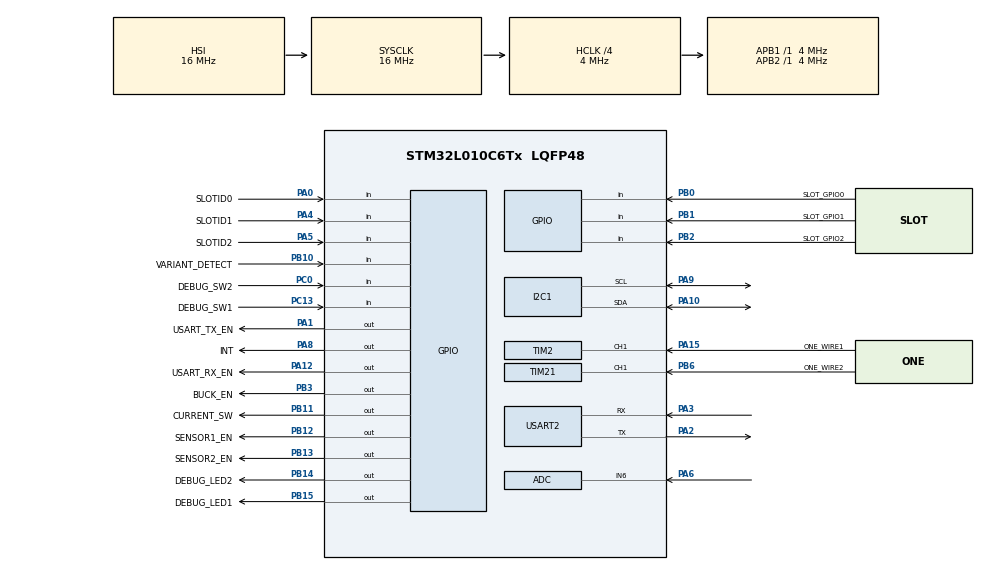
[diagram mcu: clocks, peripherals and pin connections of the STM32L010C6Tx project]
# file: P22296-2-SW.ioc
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ADC.ContinuousConvMode=ENABLE
ADC.Overrun=ADC_OVR_DATA_OVERWRITTEN
ADC.SamplingTime=ADC_SAMPLETIME_3CYCLES_5
Dma.Request0=USART2_RX
Dma.Request1=USART2_TX
Dma.USART2_RX.0.Direction=DMA_PERIPH_TO_MEMORY
Dma.USART2_RX.0.Instance=DMA1_Channel5
Dma.USART2_RX.0.MemDataAlignment=DMA_MDATAALIGN_BYTE
Dma.USART2_RX.0.MemInc=DMA_MINC_ENABLE
Dma.USART2_RX.0.Mode=DMA_NORMAL
Dma.USART2_RX.0.PeriphDataAlignment=DMA_PDATAALIGN_BYTE
Dma.USART2_RX.0.PeriphInc=DMA_PINC_DISABLE
Dma.USART2_RX.0.Priority=DMA_PRIORITY_MEDIUM
Dma.USART2_TX.1.Direction=DMA_MEMORY_TO_PERIPH
Dma.USART2_TX.1.Instance=DMA1_Channel4
Dma.USART2_TX.1.MemDataAlignment=DMA_MDATAALIGN_BYTE
Dma.USART2_TX.1.MemInc=DMA_MINC_ENABLE
Dma.USART2_TX.1.Mode=DMA_NORMAL
Dma.USART2_TX.1.PeriphDataAlignment=DMA_PDATAALIGN_BYTE
Dma.USART2_TX.1.PeriphInc=DMA_PINC_DISABLE
Dma.USART2_TX.1.Priority=DMA_PRIORITY_MEDIUM
I2C1.OwnAddress=0
I2C1.Timing=0x00303D5B
Mcu.Family=STM32L0
Mcu.Name=STM32L010C6Tx
Mcu.Package=LQFP48
NVIC.DMA1_Channel4_5_6_7_IRQn=true\:0\:0\:false\:false\:true\:false\:true\:true
NVIC.I2C1_IRQn=true\:1\:0\:true\:false\:true\:true\:true\:true
NVIC.TIM21_IRQn=true\:2\:0\:true\:false\:true\:true\:true\:true
NVIC.TIM2_IRQn=true\:2\:0\:true\:false\:true\:true\:true\:true
PA0.GPIO_Label=SLOTID0
PA0.Signal=GPIO_Input
PA1.GPIO_Label=USART_TX_EN
PA1.Signal=GPIO_Output
PA10.Mode=I2C
PA10.Signal=I2C1_SDA
PA12.GPIO_Label=USART_RX_EN
PA12.Signal=GPIO_Output
PA13.Mode=Serial_Wire
PA13.Signal=SYS_SWDIO
PA15.GPIO_Label=ONE_WIRE1
PA15.Signal=S_TIM2_CH1
PA2.Mode=Asynchronous
PA2.Signal=USART2_TX
PA3.Mode=Asynchronous
PA3.Signal=USART2_RX
PA4.GPIO_Label=SLOTID1
PA4.Signal=GPIO_Input
PA5.GPIO_Label=SLOTID2
PA5.Signal=GPIO_Input
PA6.Mode=IN6
PA6.Signal=ADC_IN6
PA7.Signal=ADC_IN7
PA8.GPIO_Label=INT
PA8.Signal=GPIO_Output
PA9.Mode=I2C
PA9.Signal=I2C1_SCL
PB0.GPIO_Label=SLOT_GPIO0
PB0.Signal=GPIO_Input
PB1.GPIO_Label=SLOT_GPIO1
PB1.Signal=GPIO_Input
PB10.GPIO_Label=VARIANT_DETECT
PB10.Signal=GPIO_Input
PB11.GPIO_Label=CURRENT_SW
PB11.GPIO_ModeDefaultOutputPP=GPIO_MODE_OUTPUT_PP
PB11.GPIO_PuPd=GPIO_NOPULL
PB11.PinState=GPIO_PIN_SET
PB11.Signal=GPIO_Output
PB12.GPIO_Label=SENSOR1_EN
PB12.GPIO_ModeDefaultOutputPP=GPIO_MODE_OUTPUT_OD
PB12.GPIO_PuPd=GPIO_NOPULL
PB12.PinState=GPIO_PIN_SET
PB12.Signal=GPIO_Output
PB13.GPIO_Label=SENSOR2_EN
PB13.GPIO_ModeDefaultOutputPP=GPIO_MODE_OUTPUT_OD
PB13.GPIO_PuPd=GPIO_NOPULL
PB13.PinState=GPIO_PIN_SET
PB13.Signal=GPIO_Output
PB14.GPIO_Label=DEBUG_LED2
PB14.Signal=GPIO_Output
PB15.GPIO_Label=DEBUG_LED1
PB15.GPIO_Speed=GPIO_SPEED_FREQ_VERY_HIGH
PB15.Signal=GPIO_Output
PB2.GPIO_Label=SLOT_GPIO2
PB2.Signal=GPIO_Input
PB3.GPIO_Label=BUCK_EN
PB3.Signal=GPIO_Output
PB6.GPIO_Label=ONE_WIRE2
PB6.Signal=S_TIM21_CH1
PC0.GPIO_Label=DEBUG_SW2
PC0.Signal=GPIO_Input
PC13-ANTI_TAMP.GPIO_Label=DEBUG_SW1
PC13-ANTI_TAMP.Signal=GPIO_Input
PH0-OSC_IN.Mode=HSE-External-Oscillator
PH0-OSC_IN.Signal=RCC_OSC_IN
PH1-OSC_OUT.Mode=HSE-External-Oscillator
PH1-OSC_OUT.Signal=RCC_OSC_OUT
ProjectManager.HeapSize=0x200
ProjectManager.StackSize=0x400
ProjectManager.TargetToolchain=STM32CubeIDE
RCC.ADCFreq_Value=16000000
RCC.AHBCLKDivider=RCC_SYSCLK_DIV4
RCC.AHBFreq_Value=4000000
RCC.APB1Freq_Value=4000000
RCC.APB1TimFreq_Value=4000000
RCC.APB2Freq_Value=4000000
RCC.APB2TimFreq_Value=4000000
RCC.HCLKFreq_Value=4000000
RCC.HSE_VALUE=8000000
RCC.HSI16_VALUE=16000000
RCC.HSI_VALUE=16000000
RCC.I2c1ClockSelection=RCC_I2C1CLKSOURCE_HSI
RCC.LSE_VALUE=32768
RCC.MSI_VALUE=2097000
RCC.PLLDIV=RCC_PLLDIV_4
RCC.RCC_MCOSource=RCC_MCO1SOURCE_HSI
RCC.SYSCLKFreq_VALUE=16000000
RCC.SYSCLKSource=RCC_SYSCLKSOURCE_HSI
RCC.Usart2ClockSelection=RCC_USART2CLKSOURCE_HSI
RCC.VCOOutputFreq_Value=48000000
SH.S_TIM21_CH1.0=TIM21_CH1,Input_Capture1_from_TI1
SH.S_TIM2_CH1.0=TIM2_CH1,Input_Capture1_from_TI1
TIM2.AutoReloadPreload=TIM_AUTORELOAD_PRELOAD_ENABLE
TIM2.Channel-Input_Capture1_from_TI1=TIM_CHANNEL_1
TIM2.ICPolarity_CH1=TIM_INPUTCHANNELPOLARITY_BOTHEDGE
TIM2.Period=0xFFFF-1
TIM21.Channel-Input_Capture1_from_TI1=TIM_CHANNEL_1
TIM21.ICPolarity_CH1=TIM_INPUTCHANNELPOLARITY_BOTHEDGE
TIM21.Period=0xFFFF-1
USART2.VirtualMode=VM_ASYNC
VP_TIM21_VS_ClockSourceINT.Mode=Internal
VP_TIM2_VS_ClockSourceINT.Mode=Internal
board=custom

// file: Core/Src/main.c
/* USER CODE BEGIN Header */
/**
 ******************************************************************************
 * @file           : main.c
 * @brief          : Main program body
 * @author         : D.Kerstens
 ******************************************************************************
 * @attention
 *
 * Copyright (c) 2023 STMicroelectronics.
 * All rights reserved.
 *
 * This software is licensed under terms that can be found in the LICENSE file
 * in the root directory of this software component.
 * If no LICENSE file comes with this software, it is provided AS-IS.
 *
 ******************************************************************************
 */

/* USER CODE END Header */
#include "main.h"

/* USER CODE BEGIN Includes */
#include <stdbool.h>
#include <stdio.h>
#include <string.h>
#include "SensorRegister.h"
#include "I2C_Slave.h"
#include "modbus.h"
#include "adc.h"
#include "utils.h"
/* USER CODE END Includes */

/* USER CODE BEGIN PTD */
/**
 * @enum  state_machine_t
 * @brief different states
 *
 */
typedef enum
{
  POLL_RS485_SENSOR,  /**< POLL_RS485_SENSOR */
  POLL_ONEWIRE_SENSOR,/**< POLL_ONEWIRE_SENSOR */
  WRITE_REGISTER,     /**< WRITE_REGISTER */
  ASSIGN_ADDRESS,     /**< ASSIGN_ADDRESS */
  SLEEP,              /**< SLEEP */
} state_machine_t;
/* USER CODE END PTD */

ADC_HandleTypeDef hadc;

I2C_HandleTypeDef hi2c1;

TIM_HandleTypeDef htim2;
TIM_HandleTypeDef htim21;

UART_HandleTypeDef huart2;
DMA_HandleTypeDef hdma_usart2_rx;
DMA_HandleTypeDef hdma_usart2_tx;

/* USER CODE BEGIN PV */
extern uint16_t supplyVSENSOR;
extern uint16_t supplyVSENSORSLOT;

state_machine_t currentState = SLEEP;
variant_t variant;
uint16_t samples;

/* USER CODE END PV */

void SystemClock_Config(void);
static void MX_GPIO_Init(void);
static void MX_DMA_Init(void);
static void MX_ADC_Init(void);
static void MX_I2C1_Init(void);
static void MX_USART2_UART_Init(void);
static void MX_TIM2_Init(void);
static void MX_TIM21_Init(void);
/* USER CODE BEGIN PFP */
void OneWireSystemClock_Config(void);
/* USER CODE END PFP */

int main(void)
{

  /* MCU Configuration--------------------------------------------------------*/

  /* Reset of all peripherals, Initializes the Flash interface and the Systick. */
  HAL_Init();

  /* USER CODE BEGIN SysInit */
  MX_GPIO_Init();
  variant = getVariant();
  /* Configure the system clock */
  if(variant == ONEWIRE_VARIANT)
  {
    OneWireSystemClock_Config();
    setSensorType(MFM_DRUKMODULE_ONEWIRE);
    setMeasureTime(DEF_MEAS_TIME_ONEWIRE);
    setMeasureDataSize(MFM_DRUKMODULE_ONEWIRE);
  }

  else if(variant == RS485_VARIANT)
  {
    SystemClock_Config();
    setSensorType(MFM_DRUKMODULE_RS485);
    enableInitFunction(); //enable the sensor init function
    setMeasureTime(DEF_MEAS_TIME_RS485);
    setMeasureDataSize(MFM_DRUKMODULE_RS485);
  }
  /* USER CODE END SysInit */

  /* Initialize all configured peripherals */
  MX_GPIO_Init();
  MX_DMA_Init();
  MX_ADC_Init();
  MX_I2C1_Init();
  MX_USART2_UART_Init();
  MX_TIM2_Init();
  MX_TIM21_Init();
  /* USER CODE BEGIN 2 */
  ModbusInit(&huart2);
  HAL_I2C_EnableListen_IT(&hi2c1);
  setSlaveAddress();

  // Check the sensorslot power supply voltage
  supplyVSENSORSLOT = ADC_Vsensorslot_Measure(&hadc);
  if(supplyVSENSORSLOT <= 2700 || supplyVSENSORSLOT >= 3800)
    setErrorCode(VCC_ERROR);
  /* USER CODE END 2 */

  /* Infinite loop */
  /* USER CODE BEGIN WHILE */
  while (1)
  {
    switch (currentState)
    {
      case POLL_RS485_SENSOR:
        /* Measure the RS485 Sensor */
        measureKellerSensor();

        /* Finish measurement */
        currentState = SLEEP;
        break;

      case POLL_ONEWIRE_SENSOR:
        /* Measure the OneWire Sensor */
        measureHubaSensor();

        /* Finish measurement */
        currentState = SLEEP;
        break;

      case WRITE_REGISTER:
        if (regWriteData[0] == REG_SENSOR_SELECTED)
        {
          writeRegister(regWriteData, regSize + 3);
          storeSelectedSensor(regWriteData[1]);
        }
        else
          writeRegister(regWriteData, regSize + 3);

        writeFlag = false;
        currentState = SLEEP;
        break;

      case ASSIGN_ADDRESS:
        {
          bool result = true;
          if (variant == RS485_VARIANT)
          {
            result = assignAddressKeller(getSelectedSensor());
          }
          setInitStatusReady(result);
          currentState = SLEEP;
        }
        break;

      case SLEEP:

        //check if a write flag is found
        if (writeFlag)
        {
          currentState = WRITE_REGISTER;
        }

        //check if a sensor init command is received
        else if( getInitStartStatus())
        {
          setInitStatusBusy();
          currentState = ASSIGN_ADDRESS;
        }

        // If the measurement start register has been set to 1
        else if(readMeasStart())
        {
          setMeasurementStatus(MEASUREMENT_ACTIVE);
          samples = readMeasSamples();

          /* Check which sensor type to poll */
          if (variant == RS485_VARIANT)
          {
            switchOnSensor_BothKeller(); //switch on timed buck converter and sensor1 + sensor2

            currentState = POLL_RS485_SENSOR;
            HAL_Delay(25); //todo remove, now 10ms at switch on + 25 = 35ms same as before
          }
          else if (variant == ONEWIRE_VARIANT)
          {
            controlBuckConverter( GPIO_PIN_SET); //enable buck converter
            HAL_Delay(25); //wait for stabilized supply. Needs to be 25ms minimum for guaranteeing stable output voltage.
            disableCurrentLimit();
            currentState = POLL_ONEWIRE_SENSOR;
          }
        }

        break;
    }

    //check sensorSlave error is active and restart the I2C.
    if( sensorSlaveErrorFlag )
    {
      sensorSlaveErrorFlag = false;

      HAL_I2C_DeInit(&hi2c1);

      MX_I2C1_Init();
      HAL_I2C_EnableListen_IT(&hi2c1);
      setSlaveAddress();
      setErrorCode(I2C_ERROR);
    }

    /* USER CODE END WHILE */

  }
}

void SystemClock_Config(void)
{
  RCC_OscInitTypeDef RCC_OscInitStruct = {0};
  RCC_ClkInitTypeDef RCC_ClkInitStruct = {0};
  RCC_PeriphCLKInitTypeDef PeriphClkInit = {0};

  /** Configure the main internal regulator output voltage
  */
  __HAL_PWR_VOLTAGESCALING_CONFIG(PWR_REGULATOR_VOLTAGE_SCALE1);

  /** Initializes the RCC Oscillators according to the specified parameters
  * in the RCC_OscInitTypeDef structure.
  */
  RCC_OscInitStruct.OscillatorType = RCC_OSCILLATORTYPE_HSI;
  RCC_OscInitStruct.HSIState = RCC_HSI_ON;
  RCC_OscInitStruct.HSICalibrationValue = RCC_HSICALIBRATION_DEFAULT;
  RCC_OscInitStruct.PLL.PLLState = RCC_PLL_NONE;
  if (HAL_RCC_OscConfig(&RCC_OscInitStruct) != HAL_OK)
  {
    Error_Handler();
  }

  /** Initializes the CPU, AHB and APB buses clocks
  */
  RCC_ClkInitStruct.ClockType = RCC_CLOCKTYPE_HCLK|RCC_CLOCKTYPE_SYSCLK
                              |RCC_CLOCKTYPE_PCLK1|RCC_CLOCKTYPE_PCLK2;
  RCC_ClkInitStruct.SYSCLKSource = RCC_SYSCLKSOURCE_HSI;
  RCC_ClkInitStruct.AHBCLKDivider = RCC_SYSCLK_DIV4;
  RCC_ClkInitStruct.APB1CLKDivider = RCC_HCLK_DIV1;
  RCC_ClkInitStruct.APB2CLKDivider = RCC_HCLK_DIV1;

  if (HAL_RCC_ClockConfig(&RCC_ClkInitStruct, FLASH_LATENCY_0) != HAL_OK)
  {
    Error_Handler();
  }
  PeriphClkInit.PeriphClockSelection = RCC_PERIPHCLK_USART2|RCC_PERIPHCLK_I2C1;
  PeriphClkInit.Usart2ClockSelection = RCC_USART2CLKSOURCE_HSI;
  PeriphClkInit.I2c1ClockSelection = RCC_I2C1CLKSOURCE_HSI;
  if (HAL_RCCEx_PeriphCLKConfig(&PeriphClkInit) != HAL_OK)
  {
    Error_Handler();
  }
  HAL_RCC_MCOConfig(RCC_MCO1, RCC_MCO1SOURCE_HSI, RCC_MCODIV_1);
}

static void MX_ADC_Init(void)
{

  ADC_ChannelConfTypeDef sConfig = {0};

  /** Configure the global features of the ADC (Clock, Resolution, Data Alignment and number of conversion)
  */
  hadc.Instance = ADC1;
  hadc.Init.OversamplingMode = DISABLE;
  hadc.Init.ClockPrescaler = ADC_CLOCK_SYNC_PCLK_DIV2;
  hadc.Init.Resolution = ADC_RESOLUTION_12B;
  hadc.Init.SamplingTime = ADC_SAMPLETIME_3CYCLES_5;
  hadc.Init.ScanConvMode = ADC_SCAN_DIRECTION_FORWARD;
  hadc.Init.DataAlign = ADC_DATAALIGN_RIGHT;
  hadc.Init.ContinuousConvMode = ENABLE;
  hadc.Init.DiscontinuousConvMode = DISABLE;
  hadc.Init.ExternalTrigConvEdge = ADC_EXTERNALTRIGCONVEDGE_NONE;
  hadc.Init.ExternalTrigConv = ADC_SOFTWARE_START;
  hadc.Init.DMAContinuousRequests = DISABLE;
  hadc.Init.EOCSelection = ADC_EOC_SINGLE_CONV;
  hadc.Init.Overrun = ADC_OVR_DATA_OVERWRITTEN;
  hadc.Init.LowPowerAutoWait = DISABLE;
  hadc.Init.LowPowerFrequencyMode = ENABLE;
  hadc.Init.LowPowerAutoPowerOff = DISABLE;
  if (HAL_ADC_Init(&hadc) != HAL_OK)
  {
    Error_Handler();
  }

  /** Configure for the selected ADC regular channel to be converted.
  */
  sConfig.Channel = ADC_CHANNEL_6;
  sConfig.Rank = ADC_RANK_CHANNEL_NUMBER;
  if (HAL_ADC_ConfigChannel(&hadc, &sConfig) != HAL_OK)
  {
    Error_Handler();
  }
  /* USER CODE BEGIN ADC_Init 2 */
  sConfig.Rank = ADC_RANK_NONE;
  if (HAL_ADC_ConfigChannel(&hadc, &sConfig) != HAL_OK)
  {
    Error_Handler();
  }
  HAL_ADC_Stop(&hadc);
  HAL_ADC_DeInit(&hadc);
  /* USER CODE END ADC_Init 2 */

}

static void MX_I2C1_Init(void)
{

  hi2c1.Instance = I2C1;
  hi2c1.Init.Timing = 0x00303D5B;
  hi2c1.Init.OwnAddress1 = 0;
  hi2c1.Init.AddressingMode = I2C_ADDRESSINGMODE_7BIT;
  hi2c1.Init.DualAddressMode = I2C_DUALADDRESS_DISABLE;
  hi2c1.Init.OwnAddress2 = 0;
  hi2c1.Init.OwnAddress2Masks = I2C_OA2_NOMASK;
  hi2c1.Init.GeneralCallMode = I2C_GENERALCALL_DISABLE;
  hi2c1.Init.NoStretchMode = I2C_NOSTRETCH_DISABLE;
  if (HAL_I2C_Init(&hi2c1) != HAL_OK)
  {
    Error_Handler();
  }

  /** Configure Analogue filter
  */
  if (HAL_I2CEx_ConfigAnalogFilter(&hi2c1, I2C_ANALOGFILTER_ENABLE) != HAL_OK)
  {
    Error_Handler();
  }

  /** Configure Digital filter
  */
  if (HAL_I2CEx_ConfigDigitalFilter(&hi2c1, 0) != HAL_OK)
  {
    Error_Handler();
  }

}

static void MX_TIM2_Init(void)
{

  TIM_ClockConfigTypeDef sClockSourceConfig = {0};
  TIM_MasterConfigTypeDef sMasterConfig = {0};
  TIM_IC_InitTypeDef sConfigIC = {0};

  htim2.Instance = TIM2;
  htim2.Init.Prescaler = 0;
  htim2.Init.CounterMode = TIM_COUNTERMODE_UP;
  htim2.Init.Period = 0xFFFF-1;
  htim2.Init.ClockDivision = TIM_CLOCKDIVISION_DIV1;
  htim2.Init.AutoReloadPreload = TIM_AUTORELOAD_PRELOAD_ENABLE;
  if (HAL_TIM_Base_Init(&htim2) != HAL_OK)
  {
    Error_Handler();
  }
  sClockSourceConfig.ClockSource = TIM_CLOCKSOURCE_INTERNAL;
  if (HAL_TIM_ConfigClockSource(&htim2, &sClockSourceConfig) != HAL_OK)
  {
    Error_Handler();
  }
  if (HAL_TIM_IC_Init(&htim2) != HAL_OK)
  {
    Error_Handler();
  }
  sMasterConfig.MasterOutputTrigger = TIM_TRGO_RESET;
  sMasterConfig.MasterSlaveMode = TIM_MASTERSLAVEMODE_DISABLE;
  if (HAL_TIMEx_MasterConfigSynchronization(&htim2, &sMasterConfig) != HAL_OK)
  {
    Error_Handler();
  }
  sConfigIC.ICPolarity = TIM_INPUTCHANNELPOLARITY_BOTHEDGE;
  sConfigIC.ICSelection = TIM_ICSELECTION_DIRECTTI;
  sConfigIC.ICPrescaler = TIM_ICPSC_DIV1;
  sConfigIC.ICFilter = 0;
  if (HAL_TIM_IC_ConfigChannel(&htim2, &sConfigIC, TIM_CHANNEL_1) != HAL_OK)
  {
    Error_Handler();
  }

}

static void MX_TIM21_Init(void)
{

  TIM_ClockConfigTypeDef sClockSourceConfig = {0};
  TIM_MasterConfigTypeDef sMasterConfig = {0};
  TIM_IC_InitTypeDef sConfigIC = {0};

  htim21.Instance = TIM21;
  htim21.Init.Prescaler = 0;
  htim21.Init.CounterMode = TIM_COUNTERMODE_UP;
  htim21.Init.Period = 0xFFFF-1;
  htim21.Init.ClockDivision = TIM_CLOCKDIVISION_DIV1;
  htim21.Init.AutoReloadPreload = TIM_AUTORELOAD_PRELOAD_DISABLE;
  if (HAL_TIM_Base_Init(&htim21) != HAL_OK)
  {
    Error_Handler();
  }
  sClockSourceConfig.ClockSource = TIM_CLOCKSOURCE_INTERNAL;
  if (HAL_TIM_ConfigClockSource(&htim21, &sClockSourceConfig) != HAL_OK)
  {
    Error_Handler();
  }
  if (HAL_TIM_IC_Init(&htim21) != HAL_OK)
  {
    Error_Handler();
  }
  sMasterConfig.MasterOutputTrigger = TIM_TRGO_RESET;
  sMasterConfig.MasterSlaveMode = TIM_MASTERSLAVEMODE_DISABLE;
  if (HAL_TIMEx_MasterConfigSynchronization(&htim21, &sMasterConfig) != HAL_OK)
  {
    Error_Handler();
  }
  sConfigIC.ICPolarity = TIM_INPUTCHANNELPOLARITY_BOTHEDGE;
  sConfigIC.ICSelection = TIM_ICSELECTION_DIRECTTI;
  sConfigIC.ICPrescaler = TIM_ICPSC_DIV1;
  sConfigIC.ICFilter = 0;
  if (HAL_TIM_IC_ConfigChannel(&htim21, &sConfigIC, TIM_CHANNEL_1) != HAL_OK)
  {
    Error_Handler();
  }

}

static void MX_USART2_UART_Init(void)
{

  huart2.Instance = USART2;
  huart2.Init.BaudRate = 115200;
  huart2.Init.WordLength = UART_WORDLENGTH_8B;
  huart2.Init.StopBits = UART_STOPBITS_1;
  huart2.Init.Parity = UART_PARITY_NONE;
  huart2.Init.Mode = UART_MODE_TX_RX;
  huart2.Init.HwFlowCtl = UART_HWCONTROL_NONE;
  huart2.Init.OverSampling = UART_OVERSAMPLING_16;
  huart2.Init.OneBitSampling = UART_ONE_BIT_SAMPLE_DISABLE;
  huart2.AdvancedInit.AdvFeatureInit = UART_ADVFEATURE_NO_INIT;
  if (HAL_UART_Init(&huart2) != HAL_OK)
  {
    Error_Handler();
  }

}

static void MX_DMA_Init(void)
{

  /* DMA controller clock enable */
  __HAL_RCC_DMA1_CLK_ENABLE();

  /* DMA interrupt init */
  /* DMA1_Channel4_5_6_7_IRQn interrupt configuration */
  HAL_NVIC_SetPriority(DMA1_Channel4_5_6_7_IRQn, 0, 0);
  HAL_NVIC_EnableIRQ(DMA1_Channel4_5_6_7_IRQn);

}

static void MX_GPIO_Init(void)
{
  GPIO_InitTypeDef GPIO_InitStruct = {0};

  /* GPIO Ports Clock Enable */
  __HAL_RCC_GPIOC_CLK_ENABLE();
  __HAL_RCC_GPIOH_CLK_ENABLE();
  __HAL_RCC_GPIOA_CLK_ENABLE();
  __HAL_RCC_GPIOB_CLK_ENABLE();

  /*Configure GPIO pin Output Level */
  HAL_GPIO_WritePin(GPIOA, USART_TX_EN_Pin|INT_Pin|USART_RX_EN_Pin, GPIO_PIN_RESET);

  /*Configure GPIO pin Output Level */
  HAL_GPIO_WritePin(GPIOB, CURRENT_SW_Pin|SENSOR1_EN_Pin|SENSOR2_EN_Pin, GPIO_PIN_SET);

  /*Configure GPIO pin Output Level */
  HAL_GPIO_WritePin(GPIOB, DEBUG_LED2_Pin|DEBUG_LED1_Pin|BUCK_EN_Pin, GPIO_PIN_RESET);

  /*Configure GPIO pins : DEBUG_SW2_Pin DEBUG_SW1_Pin */
  GPIO_InitStruct.Pin = DEBUG_SW2_Pin|DEBUG_SW1_Pin;
  GPIO_InitStruct.Mode = GPIO_MODE_INPUT;
  GPIO_InitStruct.Pull = GPIO_NOPULL;
  HAL_GPIO_Init(GPIOC, &GPIO_InitStruct);

  /*Configure GPIO pins : SLOTID0_Pin SLOTID1_Pin SLOTID2_Pin */
  GPIO_InitStruct.Pin = SLOTID0_Pin|SLOTID1_Pin|SLOTID2_Pin;
  GPIO_InitStruct.Mode = GPIO_MODE_INPUT;
  GPIO_InitStruct.Pull = GPIO_NOPULL;
  HAL_GPIO_Init(GPIOA, &GPIO_InitStruct);

  /*Configure GPIO pins : USART_TX_EN_Pin INT_Pin USART_RX_EN_Pin */
  GPIO_InitStruct.Pin = USART_TX_EN_Pin|INT_Pin|USART_RX_EN_Pin;
  GPIO_InitStruct.Mode = GPIO_MODE_OUTPUT_PP;
  GPIO_InitStruct.Pull = GPIO_NOPULL;
  GPIO_InitStruct.Speed = GPIO_SPEED_FREQ_LOW;
  HAL_GPIO_Init(GPIOA, &GPIO_InitStruct);

  /*Configure GPIO pins : SLOT_GPIO0_Pin SLOT_GPIO1_Pin SLOT_GPIO2_Pin VARIANT_DETECT_Pin */
  GPIO_InitStruct.Pin = SLOT_GPIO0_Pin|SLOT_GPIO1_Pin|SLOT_GPIO2_Pin|VARIANT_DETECT_Pin;
  GPIO_InitStruct.Mode = GPIO_MODE_INPUT;
  GPIO_InitStruct.Pull = GPIO_NOPULL;
  HAL_GPIO_Init(GPIOB, &GPIO_InitStruct);

  /*Configure GPIO pins : CURRENT_SW_Pin DEBUG_LED2_Pin BUCK_EN_Pin */
  GPIO_InitStruct.Pin = CURRENT_SW_Pin|DEBUG_LED2_Pin|BUCK_EN_Pin;
  GPIO_InitStruct.Mode = GPIO_MODE_OUTPUT_PP;
  GPIO_InitStruct.Pull = GPIO_NOPULL;
  GPIO_InitStruct.Speed = GPIO_SPEED_FREQ_LOW;
  HAL_GPIO_Init(GPIOB, &GPIO_InitStruct);

  /*Configure GPIO pins : SENSOR1_EN_Pin SENSOR2_EN_Pin */
  GPIO_InitStruct.Pin = SENSOR1_EN_Pin|SENSOR2_EN_Pin;
  GPIO_InitStruct.Mode = GPIO_MODE_OUTPUT_OD;
  GPIO_InitStruct.Pull = GPIO_NOPULL;
  GPIO_InitStruct.Speed = GPIO_SPEED_FREQ_LOW;
  HAL_GPIO_Init(GPIOB, &GPIO_InitStruct);

  /*Configure GPIO pin : DEBUG_LED1_Pin */
  GPIO_InitStruct.Pin = DEBUG_LED1_Pin;
  GPIO_InitStruct.Mode = GPIO_MODE_OUTPUT_PP;
  GPIO_InitStruct.Pull = GPIO_NOPULL;
  GPIO_InitStruct.Speed = GPIO_SPEED_FREQ_VERY_HIGH;
  HAL_GPIO_Init(DEBUG_LED1_GPIO_Port, &GPIO_InitStruct);

}

/* USER CODE BEGIN 4 */
void OneWireSystemClock_Config(void)
{
  RCC_OscInitTypeDef RCC_OscInitStruct = {0};
  RCC_ClkInitTypeDef RCC_ClkInitStruct = {0};
  RCC_PeriphCLKInitTypeDef PeriphClkInit = {0};

  /** Configure the main internal regulator output voltage
  */
  __HAL_PWR_VOLTAGESCALING_CONFIG(PWR_REGULATOR_VOLTAGE_SCALE1);

  /** Initializes the RCC Oscillators according to the specified parameters
  * in the RCC_OscInitTypeDef structure.
  */
  RCC_OscInitStruct.OscillatorType = RCC_OSCILLATORTYPE_HSI;
  RCC_OscInitStruct.HSIState = RCC_HSI_ON;
  RCC_OscInitStruct.HSICalibrationValue = RCC_HSICALIBRATION_DEFAULT;
  RCC_OscInitStruct.PLL.PLLState = RCC_PLL_ON;
  RCC_OscInitStruct.PLL.PLLSource = RCC_PLLSOURCE_HSI;
  RCC_OscInitStruct.PLL.PLLMUL = RCC_PLLMUL_4;
  RCC_OscInitStruct.PLL.PLLDIV = RCC_PLLDIV_2;
  if (HAL_RCC_OscConfig(&RCC_OscInitStruct) != HAL_OK)
  {
    Error_Handler();
  }

  /** Initializes the CPU, AHB and APB buses clocks
  */
  RCC_ClkInitStruct.ClockType = RCC_CLOCKTYPE_HCLK|RCC_CLOCKTYPE_SYSCLK
                              |RCC_CLOCKTYPE_PCLK1|RCC_CLOCKTYPE_PCLK2;
  RCC_ClkInitStruct.SYSCLKSource = RCC_SYSCLKSOURCE_PLLCLK;
  RCC_ClkInitStruct.AHBCLKDivider = RCC_SYSCLK_DIV1;
  RCC_ClkInitStruct.APB1CLKDivider = RCC_HCLK_DIV2;
  RCC_ClkInitStruct.APB2CLKDivider = RCC_HCLK_DIV2;

  if (HAL_RCC_ClockConfig(&RCC_ClkInitStruct, FLASH_LATENCY_1) != HAL_OK)
  {
    Error_Handler();
  }
  PeriphClkInit.PeriphClockSelection = RCC_PERIPHCLK_USART2|RCC_PERIPHCLK_I2C1;
  PeriphClkInit.Usart2ClockSelection = RCC_USART2CLKSOURCE_HSI;
  PeriphClkInit.I2c1ClockSelection = RCC_I2C1CLKSOURCE_HSI;
  if (HAL_RCCEx_PeriphCLKConfig(&PeriphClkInit) != HAL_OK)
  {
    Error_Handler();
  }
  HAL_RCC_MCOConfig(RCC_MCO1, RCC_MCO1SOURCE_HSI, RCC_MCODIV_1);
}
/* USER CODE END 4 */

void Error_Handler(void)
{
  __disable_irq();
  while (1)
  {
  }
}
